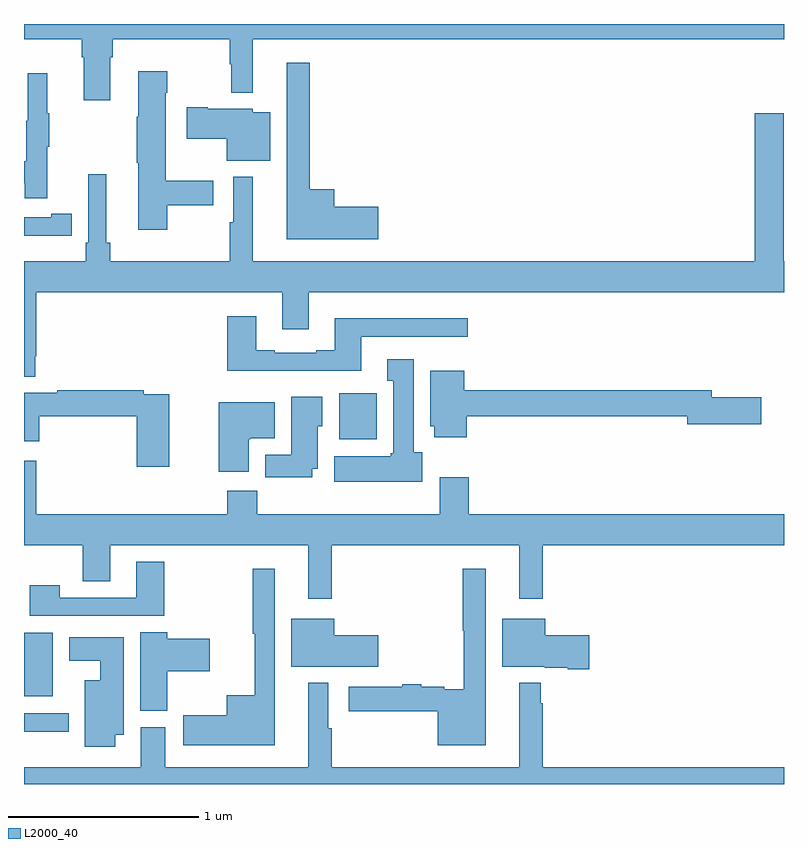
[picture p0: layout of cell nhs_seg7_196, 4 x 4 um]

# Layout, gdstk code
import gdstk
lib = gdstk.Library(unit=1e-6, precision=1e-09)
def R(c, l, rs):  # rectangles x0, y0, x1, y1
    for r in rs: c.add(gdstk.rectangle(r[:2], r[2:], *l))
def P(c, l, *ps):  # polygons
    for p in ps: c.add(gdstk.Polygon(p, *l))
L2000_40 = (2000, 40)

nhs_seg7_196 = lib.new_cell('nhs_seg7_196')
R(nhs_seg7_196, L2000_40, [(125,1026.275,125.236,1026.372), (125,1026.461,125.152,1026.796), (126.659,1027.814,126.856,1028.056)])
P(nhs_seg7_196, L2000_40, [(129,1030),(125,1030),(125,1029.92),(125.303,1029.92),(125.303,1029.824),(125.315,1029.824),(125.315,1029.6),(125.455,1029.6),(125.455,1029.824),(125.468,1029.824),(125.468,1029.92),(126.084,1029.92),(126.084,1029.788),(126.091,1029.788),(126.091,1029.639),(126.205,1029.639),(126.205,1029.92),(129,1029.92)],
  [(126.865,1029.038),(126.634,1029.038),(126.634,1029.13),(126.505,1029.13),(126.505,1029.796),(126.383,1029.796),(126.383,1028.867),(126.865,1028.867)],
  [(125.754,1029.046),(125.995,1029.046),(125.995,1029.175),(125.746,1029.175),(125.746,1029.638),(125.754,1029.638),(125.754,1029.751),(125.6,1029.751),(125.6,1029.512),(125.593,1029.512),(125.593,1029.271),(125.6,1029.271),(125.6,1028.916),(125.754,1028.916)],
  [(125.123,1029.355),(125.134,1029.355),(125.134,1029.529),(125.123,1029.529),(125.123,1029.742),(125.02,1029.742),(125.02,1029.492),(125.013,1029.492),(125.013,1029.278),(125,1029.278),(125,1029.162),(125.005,1029.162),(125.005,1029.084),(125.123,1029.084)],
  [(126.295,1029.535),(126.204,1029.535),(126.204,1029.553),(125.968,1029.553),(125.968,1029.561),(125.856,1029.561),(125.856,1029.395),(126.068,1029.395),(126.068,1029.281),(126.295,1029.281)],
  [(125.058,1028.251),(125.065,1028.251),(125.065,1028.588),(126.359,1028.588),(126.359,1028.394),(126.499,1028.394),(126.499,1028.588),(129,1028.588),(129,1028.752),(128.998,1028.752),(128.998,1029.531),(128.846,1029.531),(128.846,1028.752),(126.205,1028.752),(126.205,1029.196),(126.101,1029.196),(126.101,1028.957),(126.084,1028.957),(126.084,1028.752),(125.453,1028.752),(125.453,1028.848),(125.434,1028.848),(125.434,1029.208),(125.337,1029.208),(125.337,1028.848),(125.324,1028.848),(125.324,1028.752),(125,1028.752),(125,1028.144),(125.058,1028.144)],
  [(125.144,1028.886),(125.252,1028.886),(125.252,1029.002),(125.144,1029.002),(125.144,1028.982),(125,1028.982),(125,1028.885),(125.144,1028.885)],
  [(126.775,1028.355),(127.336,1028.355),(127.336,1028.452),(126.635,1028.452),(126.635,1028.284),(126.539,1028.284),(126.539,1028.271),(126.319,1028.271),(126.319,1028.284),(126.223,1028.284),(126.223,1028.461),(126.071,1028.461),(126.071,1028.174),(126.775,1028.174)],
  [(127.096,1027.746),(127.051,1027.746),(127.051,1028.236),(126.911,1028.236),(126.911,1028.123),(126.944,1028.123),(126.944,1027.74),(126.931,1027.74),(126.931,1027.726),(126.632,1027.726),(126.632,1027.592),(127.096,1027.592)],
  [(127.331,1027.936),(128.492,1027.936),(128.492,1027.894),(128.881,1027.894),(128.881,1028.036),(128.62,1028.036),(128.62,1028.072),(127.318,1028.072),(127.318,1028.176),(127.139,1028.176),(127.139,1027.884),(127.16,1027.884),(127.16,1027.824),(127.331,1027.824)],
  [(125.764,1028.052),(125.63,1028.052),(125.63,1028.072),(125.176,1028.072),(125.176,1028.059),(125,1028.059),(125,1027.805),(125.08,1027.805),(125.08,1027.936),(125.594,1027.936),(125.594,1027.671),(125.764,1027.671)],
  [(126.517,1027.658),(126.547,1027.658),(126.547,1027.884),(126.571,1027.884),(126.571,1028.038),(126.407,1028.038),(126.407,1027.732),(126.269,1027.732),(126.269,1027.614),(126.517,1027.614)],
  [(126.184,1027.814),(126.19,1027.814),(126.19,1027.82),(126.319,1027.82),(126.319,1028.008),(126.026,1028.008),(126.026,1027.644),(126.184,1027.644)],
  [(126.619,1027.256),(127.607,1027.256),(127.607,1026.975),(127.729,1026.975),(127.729,1027.256),(129,1027.256),(129,1027.42),(127.34,1027.42),(127.34,1027.615),(127.187,1027.615),(127.187,1027.42),(126.227,1027.42),(126.227,1027.544),(126.071,1027.544),(126.071,1027.42),(125.065,1027.42),(125.065,1027.702),(125,1027.702),(125,1027.256),(125.308,1027.256),(125.308,1027.066),(125.455,1027.066),(125.455,1027.256),(126.497,1027.256),(126.497,1026.975),(126.619,1026.975)],
  [(125.739,1027.171),(125.591,1027.171),(125.591,1026.981),(125.187,1026.981),(125.187,1027.045),(125.031,1027.045),(125.031,1026.885),(125.739,1026.885)],
  [(127.429,1027.132),(127.308,1027.132),(127.308,1026.807),(127.315,1026.807),(127.315,1026.499),(127.211,1026.499),(127.211,1026.512),(127.092,1026.512),(127.092,1026.524),(126.992,1026.524),(126.992,1026.511),(126.708,1026.511),(126.708,1026.382),(127.178,1026.382),(127.178,1026.203),(127.429,1026.203)],
  [(126.319,1027.132),(126.205,1027.132),(126.205,1026.791),(126.215,1026.791),(126.215,1026.466),(126.068,1026.466),(126.068,1026.361),(125.838,1026.361),(125.838,1026.203),(126.319,1026.203)],
  [(127.975,1026.783),(127.744,1026.783),(127.744,1026.871),(127.517,1026.871),(127.517,1026.617),(127.74,1026.617),(127.74,1026.611),(127.862,1026.611),(127.862,1026.605),(127.975,1026.605)],
  [(126.865,1026.783),(126.634,1026.783),(126.634,1026.871),(126.407,1026.871),(126.407,1026.617),(126.865,1026.617)],
  [(125.754,1026.593),(125.977,1026.593),(125.977,1026.764),(125.754,1026.764),(125.754,1026.8),(125.612,1026.8),(125.612,1026.385),(125.754,1026.385)],
  [(125.479,1026.26),(125.524,1026.26),(125.524,1026.772),(125.237,1026.772),(125.237,1026.65),(125.402,1026.65),(125.402,1026.547),(125.321,1026.547),(125.321,1026.195),(125.479,1026.195)],
  [(129,1026.088),(127.729,1026.088),(127.729,1026.425),(127.721,1026.425),(127.721,1026.532),(127.607,1026.532),(127.607,1026.088),(126.619,1026.088),(126.619,1026.293),(126.601,1026.293),(126.601,1026.532),(126.497,1026.532),(126.497,1026.088),(125.743,1026.088),(125.743,1026.3),(125.615,1026.3),(125.615,1026.088),(125,1026.088),(125,1026),(129,1026)])

lib.write_gds('nhs_seg7_196.gds')
